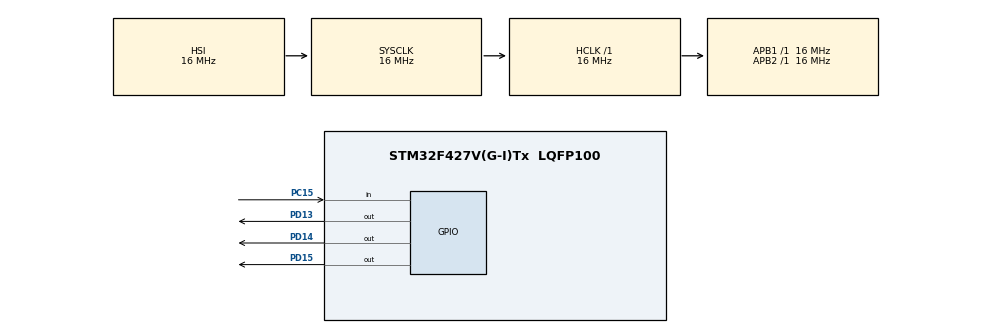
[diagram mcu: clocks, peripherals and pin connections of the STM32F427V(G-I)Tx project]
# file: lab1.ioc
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Mcu.Family=STM32F4
Mcu.Name=STM32F427V(G-I)Tx
Mcu.Package=LQFP100
NVIC.PriorityGroup=NVIC_PRIORITYGROUP_4
PC15/OSC32_OUT.Signal=GPIO_Input
PD13.Signal=GPIO_Output
PD14.Signal=GPIO_Output
PD15.Signal=GPIO_Output
ProjectManager.HeapSize=0x200
ProjectManager.StackSize=0x400
ProjectManager.TargetToolchain=STM32CubeIDE
RCC.48MHZClocksFreq_Value=48000000
RCC.AHBFreq_Value=16000000
RCC.APB1Freq_Value=16000000
RCC.APB1TimCLKDivider=1
RCC.APB1TimFreq_Value=16000000
RCC.APB2Freq_Value=16000000
RCC.APB2TimFreq_Value=16000000
RCC.CortexFreq_Value=16000000
RCC.HCLKFreq_Value=16000000
RCC.HSE_VALUE=25000000
RCC.HSI_VALUE=16000000
RCC.LSE_VALUE=32768
RCC.SYSCLKFreq_VALUE=16000000
RCC.VCOOutputFreq_Value=192000000
board=custom

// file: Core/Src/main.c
/* USER CODE BEGIN Header */
/**
 ******************************************************************************
 * @file           : main.c
 * @brief          : Main program body
 ******************************************************************************
 * @attention
 *
 * Copyright (c) 2024 STMicroelectronics.
 * All rights reserved.
 *
 * This software is licensed under terms that can be found in the LICENSE file
 * in the root directory of this software component.
 * If no LICENSE file comes with this software, it is provided AS-IS.
 *
 ******************************************************************************
 */
/* USER CODE END Header */
#include "main.h"

/* USER CODE BEGIN Includes */
#include "gpio.h"
/* USER CODE END Includes */

void SystemClock_Config(void);

/* USER CODE BEGIN 0 */
void getButtonState(uint32_t* state) {

}
/* USER CODE END 0 */

int main(void)
{

  /* MCU Configuration--------------------------------------------------------*/

  /* Reset of all peripherals, Initializes the Flash interface and the Systick. */
  HAL_Init();

  /* Configure the system clock */
  SystemClock_Config();

  /* Initialize all configured peripherals */
  MX_GPIO_Init();
  /* USER CODE BEGIN 2 */
	uint32_t max_delay = 3000;
	uint32_t btn_state = 0;
	uint32_t delay_between_pressed = 0;
	uint32_t sequence[512];
	uint32_t num = 0;
  /* USER CODE END 2 */

  /* Infinite loop */
  /* USER CODE BEGIN WHILE */
	while (1) {
		uint32_t current_ticks = HAL_GetTick();

		while ((HAL_GetTick() - current_ticks) < max_delay) {
			uint32_t button = readBtnState();
			uint32_t start = HAL_GetTick();
			uint32_t end = 0;
			while (button == 0) {
				HAL_Delay(20);
				end = HAL_GetTick();
				button = readBtnState();
			}
			if (end != 0) {
				btn_state = PRESSED;
				delay_between_pressed = end - start;
				break;
			}
		}

		if (btn_state == NOT_PRESSED) {
			// write to green gpio all signals and clear state
			for (int i = 0; i < num; i++) {
				if (sequence[i] == DOT_NUM) {
					writeGreenWithDelay(DOT_DELAY);
				}
				if (sequence[i] == DASH_NUM) {
					writeGreenWithDelay(DASH_DELAY);
				}
				HAL_Delay(200);
				sequence[i] = 0;
			}
			num = 0;
			continue;
		}

		if (delay_between_pressed <= DOT_DELAY) {
			// write yellow to two color lamp
			// DOT
			writeYellow();
			sequence[num] = DOT_NUM;
		} else {
			// write red to two color lamp
			// DASH
			writeRed();
			sequence[num] = DASH_NUM;
		}
		num += 1;
		btn_state = NOT_PRESSED;
    /* USER CODE END WHILE */

	}
}

void SystemClock_Config(void)
{
  RCC_OscInitTypeDef RCC_OscInitStruct = {0};
  RCC_ClkInitTypeDef RCC_ClkInitStruct = {0};

  /** Configure the main internal regulator output voltage
  */
  __HAL_RCC_PWR_CLK_ENABLE();
  __HAL_PWR_VOLTAGESCALING_CONFIG(PWR_REGULATOR_VOLTAGE_SCALE3);

  /** Initializes the RCC Oscillators according to the specified parameters
  * in the RCC_OscInitTypeDef structure.
  */
  RCC_OscInitStruct.OscillatorType = RCC_OSCILLATORTYPE_HSI;
  RCC_OscInitStruct.HSIState = RCC_HSI_ON;
  RCC_OscInitStruct.HSICalibrationValue = RCC_HSICALIBRATION_DEFAULT;
  RCC_OscInitStruct.PLL.PLLState = RCC_PLL_NONE;
  if (HAL_RCC_OscConfig(&RCC_OscInitStruct) != HAL_OK)
  {
    Error_Handler();
  }

  /** Initializes the CPU, AHB and APB buses clocks
  */
  RCC_ClkInitStruct.ClockType = RCC_CLOCKTYPE_HCLK|RCC_CLOCKTYPE_SYSCLK
                              |RCC_CLOCKTYPE_PCLK1|RCC_CLOCKTYPE_PCLK2;
  RCC_ClkInitStruct.SYSCLKSource = RCC_SYSCLKSOURCE_HSI;
  RCC_ClkInitStruct.AHBCLKDivider = RCC_SYSCLK_DIV1;
  RCC_ClkInitStruct.APB1CLKDivider = RCC_HCLK_DIV1;
  RCC_ClkInitStruct.APB2CLKDivider = RCC_HCLK_DIV1;

  if (HAL_RCC_ClockConfig(&RCC_ClkInitStruct, FLASH_LATENCY_0) != HAL_OK)
  {
    Error_Handler();
  }
}

void Error_Handler(void)
{
	__disable_irq();
	while (1) {
	}
}
